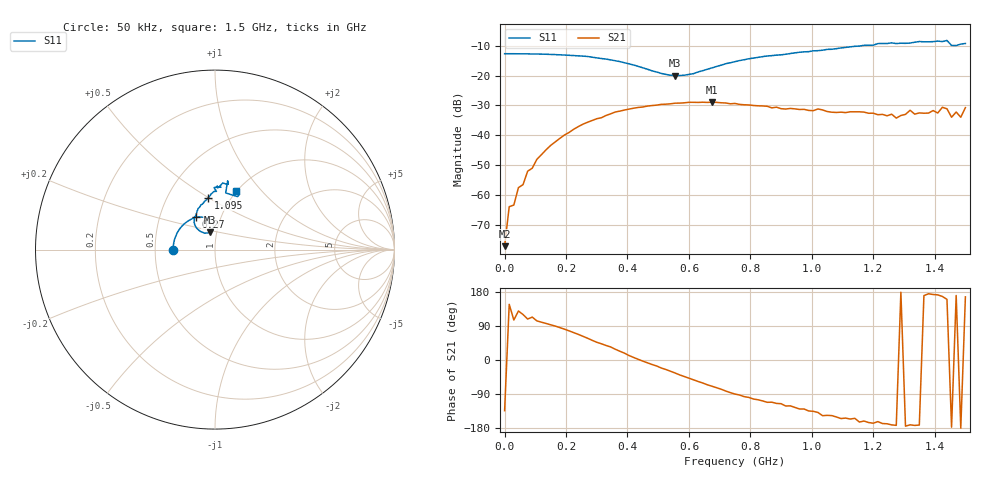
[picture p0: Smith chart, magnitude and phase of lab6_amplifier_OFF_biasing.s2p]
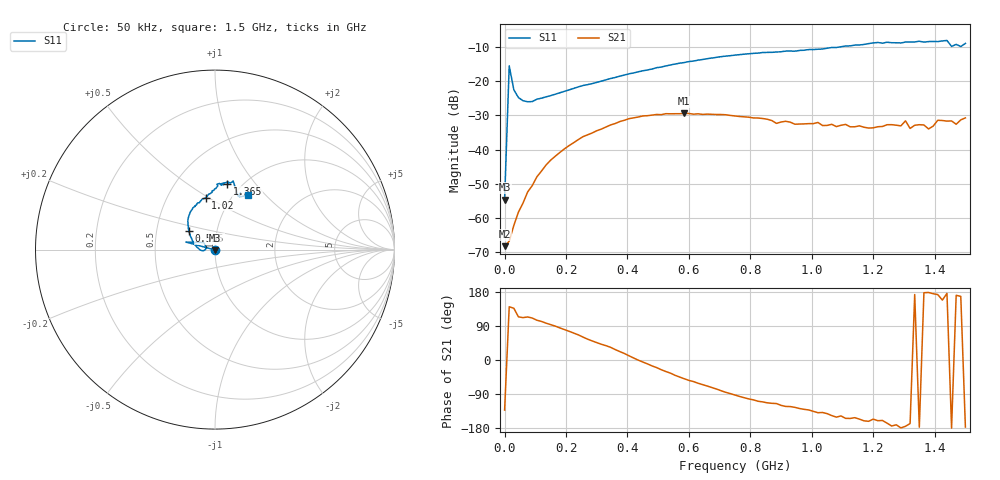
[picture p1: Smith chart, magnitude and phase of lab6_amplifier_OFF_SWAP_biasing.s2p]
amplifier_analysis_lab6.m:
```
% Function to find the nearest frequency index
function idx = findNearestFreq(freqs, targetFreq)
    [~, idx] = min(abs(freqs - targetFreq));
end

% Target frequency for pointer (700 MHz)
target_freq = 700e6; % 700 MHz in Hz

% -------------------------
% OFF BIASING
% -------------------------
S_off = sparameters('lab6_amplifier_OFF_biasing.s2p');
freq_off = S_off.Frequencies;

% Extract S-parameters
S11_off = squeeze(S_off.Parameters(1,1,:));
S21_off = squeeze(S_off.Parameters(2,1,:));

% Convert to dB
S11_off_dB = 20*log10(abs(S11_off));
S21_off_dB = 20*log10(abs(S21_off));

% Find index closest to 700 MHz
idx_700MHz_off = findNearestFreq(freq_off, target_freq);
S11_at_700MHz_off = S11_off_dB(idx_700MHz_off);
S21_at_700MHz_off = S21_off_dB(idx_700MHz_off);

% Print values to terminal
fprintf('OFF Biasing at 700 MHz:\n');
fprintf('  S11 = %.2f dB\n', S11_at_700MHz_off);
fprintf('  S21 = %.2f dB\n', S21_at_700MHz_off);

% Plot S11
figure('Name','OFF Biasing - S11');
plot(freq_off/1e9, S11_off_dB, 'LineWidth',1.5);
grid on;
xlabel('Frequency (GHz)');
ylabel('S_{11} (dB)');
title('Amplifier OFF Biasing - S_{11}');
hold on;
plot(freq_off(idx_700MHz_off)/1e9, S11_at_700MHz_off, 'ro', 'MarkerSize', 10);
text(freq_off(idx_700MHz_off)/1e9, S11_at_700MHz_off, [' 700 MHz: ' num2str(S11_at_700MHz_off, '%.2f') ' dB'], 'VerticalAlignment', 'bottom');
hold off;

% Plot S21
figure('Name','OFF Biasing - S21');
plot(freq_off/1e9, S21_off_dB, 'LineWidth',1.5);
grid on;
xlabel('Frequency (GHz)');
ylabel('S_{21} (dB)');
title('Amplifier OFF Biasing - S_{21}');
hold on;
plot(freq_off(idx_700MHz_off)/1e9, S21_at_700MHz_off, 'ro', 'MarkerSize', 10);
text(freq_off(idx_700MHz_off)/1e9, S21_at_700MHz_off, [' 700 MHz: ' num2str(S21_at_700MHz_off, '%.2f') ' dB'], 'VerticalAlignment', 'bottom');
hold off;

% ========================================================
% OFF BIASING - SWAPPED S22, S12
% ========================================================
S_off_SWAP = sparameters('lab6_amplifier_OFF_SWAP_biasing.s2p');
freq_off_SWAP = S_off_SWAP.Frequencies;

% Extract S-parameters
S12_off = squeeze(S_off_SWAP.Parameters(2,1,:)); % This is actually S12 in your measurement
S22_off = squeeze(S_off_SWAP.Parameters(1,1,:)); % This is actually S22 in your measurement

% Convert to dB
S12_off_dB = 20*log10(abs(S12_off));
S22_off_dB = 20*log10(abs(S22_off));

% Find index closest to 700 MHz
idx_700MHz_off_SWAP = findNearestFreq(freq_off_SWAP, target_freq);
S12_at_700MHz_off = S12_off_dB(idx_700MHz_off_SWAP);
S22_at_700MHz_off = S22_off_dB(idx_700MHz_off_SWAP);

% Print values to terminal
fprintf('OFF Biasing (SWAPPED) at 700 MHz:\n');
fprintf('  S12 = %.2f dB\n', S12_at_700MHz_off);
fprintf('  S22 = %.2f dB\n', S22_at_700MHz_off);

% Plot S12
figure('Name','OFF Biasing - S12');
plot(freq_off_SWAP/1e9, S12_off_dB, 'LineWidth',1.5);
grid on;
xlabel('Frequency (GHz)');
ylabel('S_{12} (dB)');
title('Amplifier OFF Biasing - S_{12}');
hold on;
plot(freq_off_SWAP(idx_700MHz_off_SWAP)/1e9, S12_at_700MHz_off, 'ro', 'MarkerSize', 10);
text(freq_off_SWAP(idx_700MHz_off_SWAP)/1e9, S12_at_700MHz_off, [' 700 MHz: ' num2str(S12_at_700MHz_off, '%.2f') ' dB'], 'VerticalAlignment', 'bottom');
hold off;

% Plot S22
figure('Name','OFF Biasing - S22');
plot(freq_off_SWAP/1e9, S22_off_dB, 'LineWidth',1.5);
grid on;
xlabel('Frequency (GHz)');
ylabel('S_{22} (dB)');
title('Amplifier OFF Biasing - S_{22}');
hold on;
plot(freq_off_SWAP(idx_700MHz_off_SWAP)/1e9, S22_at_700MHz_off, 'ro', 'MarkerSize', 10);
text(freq_off_SWAP(idx_700MHz_off_SWAP)/1e9, S22_at_700MHz_off, [' 700 MHz: ' num2str(S22_at_700MHz_off, '%.2f') ' dB'], 'VerticalAlignment', 'bottom');
hold off;

% -------------------------
% 5V BIASING
% -------------------------
S_5V = sparameters('lab6_amplifier_5V_biasing.s2p');
freq_5V = S_5V.Frequencies;

% Extract S-parameters
S11_5V = squeeze(S_5V.Parameters(1,1,:));
S21_5V = squeeze(S_5V.Parameters(2,1,:));

% Convert to dB
S11_5V_dB = 20*log10(abs(S11_5V));
S21_5V_dB = 20*log10(abs(S21_5V));

% Find index closest to 700 MHz
idx_700MHz_5V = findNearestFreq(freq_5V, target_freq);
S11_at_700MHz_5V = S11_5V_dB(idx_700MHz_5V);
S21_at_700MHz_5V = S21_5V_dB(idx_700MHz_5V);

% Print values to terminal
fprintf('5V Biasing at 700 MHz:\n');
fprintf('  S11 = %.2f dB\n', S11_at_700MHz_5V);
fprintf('  S21 = %.2f dB\n', S21_at_700MHz_5V);

% Plot S11
figure('Name','5V Biasing - S11');
plot(freq_5V/1e9, S11_5V_dB, 'LineWidth',1.5);
grid on;
xlabel('Frequency (GHz)');
ylabel('S_{11} (dB)');
title('Amplifier 5V Biasing - S_{11}');
hold on;
plot(freq_5V(idx_700MHz_5V)/1e9, S11_at_700MHz_5V, 'ro', 'MarkerSize', 10);
text(freq_5V(idx_700MHz_5V)/1e9, S11_at_700MHz_5V, [' 700 MHz: ' num2str(S11_at_700MHz_5V, '%.2f') ' dB'], 'VerticalAlignment', 'bottom');
hold off;

% Plot S21
figure('Name','5V Biasing - S21');
plot(freq_5V/1e9, S21_5V_dB, 'LineWidth',1.5);
grid on;
xlabel('Frequency (GHz)');
ylabel('S_{21} (dB)');
title('Amplifier 5V Biasing - S_{21}');
hold on;
plot(freq_5V(idx_700MHz_5V)/1e9, S21_at_700MHz_5V, 'ro', 'MarkerSize', 10);
text(freq_5V(idx_700MHz_5V)/1e9, S21_at_700MHz_5V, [' 700 MHz: ' num2str(S21_at_700MHz_5V, '%.2f') ' dB'], 'VerticalAlignment', 'bottom');
hold off;

% ========================================================
% 5V BIASING - SWAPPED S22, S12
% ========================================================
S_5V_SWAP = sparameters('lab6_amplifier_5V_SWAP_biasing.s2p');
freq_5V_SWAP = S_5V_SWAP.Frequencies;

% Extract S-parameters
S12_5V = squeeze(S_5V_SWAP.Parameters(2,1,:));
S22_5V = squeeze(S_5V_SWAP.Parameters(1,1,:));

% Convert to dB
S12_5V_dB = 20*log10(abs(S12_5V));
S22_5V_dB = 20*log10(abs(S22_5V));

% Find index closest to 700 MHz
idx_700MHz_5V_SWAP = findNearestFreq(freq_5V_SWAP, target_freq);
S12_at_700MHz_5V = S12_5V_dB(idx_700MHz_5V_SWAP);
S22_at_700MHz_5V = S22_5V_dB(idx_700MHz_5V_SWAP);

% Print values to terminal
fprintf('5V Biasing (SWAPPED) at 700 MHz:\n');
fprintf('  S12 = %.2f dB\n', S12_at_700MHz_5V);
fprintf('  S22 = %.2f dB\n', S22_at_700MHz_5V);

% Plot S12
figure('Name','5V Biasing - S12');
plot(freq_5V_SWAP/1e9, S12_5V_dB, 'LineWidth',1.5);
grid on;
xlabel('Frequency (GHz)');
ylabel('S_{12} (dB)');
title('Amplifier 5V Biasing - S_{12}');
hold on;
plot(freq_5V_SWAP(idx_700MHz_5V_SWAP)/1e9, S12_at_700MHz_5V, 'ro', 'MarkerSize', 10);
text(freq_5V_SWAP(idx_700MHz_5V_SWAP)/1e9, S12_at_700MHz_5V, [' 700 MHz: ' num2str(S12_at_700MHz_5V, '%.2f') ' dB'], 'VerticalAlignment', 'bottom');
hold off;

% Plot S22
figure('Name','5V Biasing - S22');
plot(freq_5V_SWAP/1e9, S22_5V_dB, 'LineWidth',1.5);
grid on;
xlabel('Frequency (GHz)');
ylabel('S_{22} (dB)');
title('Amplifier 5V Biasing - S_{22}');
hold on;
plot(freq_5V_SWAP(idx_700MHz_5V_SWAP)/1e9, S22_at_700MHz_5V, 'ro', 'MarkerSize', 10);
text(freq_5V_SWAP(idx_700MHz_5V_SWAP)/1e9, S22_at_700MHz_5V, [' 700 MHz: ' num2str(S22_at_700MHz_5V, '%.2f') ' dB'], 'VerticalAlignment', 'bottom');
hold off;

% -------------------------
% 1.4V BIASING
% -------------------------
S_1V4 = sparameters('lab6_amplifier_1.4V_biasing.s2p');
freq_1V4 = S_1V4.Frequencies;

% Extract S-parameters
S11_1V4 = squeeze(S_1V4.Parameters(1,1,:));
S21_1V4 = squeeze(S_1V4.Parameters(2,1,:));

% Convert to dB
S11_1V4_dB = 20*log10(abs(S11_1V4));
S21_1V4_dB = 20*log10(abs(S21_1V4));

% Find index closest to 700 MHz
idx_700MHz_1V4 = findNearestFreq(freq_1V4, target_freq);
S11_at_700MHz_1V4 = S11_1V4_dB(idx_700MHz_1V4);
S21_at_700MHz_1V4 = S21_1V4_dB(idx_700MHz_1V4);

% Print values to terminal
fprintf('1.4V Biasing at 700 MHz:\n');
fprintf('  S11 = %.2f dB\n', S11_at_700MHz_1V4);
fprintf('  S21 = %.2f dB\n', S21_at_700MHz_1V4);

% Plot S11
figure('Name','1.4V Biasing - S11');
plot(freq_1V4/1e9, S11_1V4_dB, 'LineWidth',1.5);
grid on;
xlabel('Frequency (GHz)');
ylabel('S_{11} (dB)');
title('Amplifier 1.4V Biasing - S_{11}');
hold on;
plot(freq_1V4(idx_700MHz_1V4)/1e9, S11_at_700MHz_1V4, 'ro', 'MarkerSize', 10);
text(freq_1V4(idx_700MHz_1V4)/1e9, S11_at_700MHz_1V4, [' 700 MHz: ' num2str(S11_at_700MHz_1V4, '%.2f') ' dB'], 'VerticalAlignment', 'bottom');
hold off;

% Plot S21
figure('Name','1.4V Biasing - S21');
plot(freq_1V4/1e9, S21_1V4_dB, 'LineWidth',1.5);
grid on;
xlabel('Frequency (GHz)');
ylabel('S_{21} (dB)');
title('Amplifier 1.4V Biasing - S_{21}');
hold on;
plot(freq_1V4(idx_700MHz_1V4)/1e9, S21_at_700MHz_1V4, 'ro', 'MarkerSize', 10);
text(freq_1V4(idx_700MHz_1V4)/1e9, S21_at_700MHz_1V4, [' 700 MHz: ' num2str(S21_at_700MHz_1V4, '%.2f') ' dB'], 'VerticalAlignment', 'bottom');
hold off;

% ========================================================
% 1.4V BIASING - SWAPPED S22, S12
% ========================================================
S_1V4_SWAP = sparameters('lab6_amplifier_1.4V_SWAP_biasing.s2p');
freq_1V4_SWAP = S_1V4_SWAP.Frequencies;

% Extract S-parameters
S12_1V4 = squeeze(S_1V4_SWAP.Parameters(2,1,:));
S22_1V4 = squeeze(S_1V4_SWAP.Parameters(1,1,:));

% Convert to dB
S12_1V4_dB = 20*log10(abs(S12_1V4));
S22_1V4_dB = 20*log10(abs(S22_1V4));

% Find index closest to 700 MHz
idx_700MHz_1V4_SWAP = findNearestFreq(freq_1V4_SWAP, target_freq);
S12_at_700MHz_1V4 = S12_1V4_dB(idx_700MHz_1V4_SWAP);
S22_at_700MHz_1V4 = S22_1V4_dB(idx_700MHz_1V4_SWAP);

% Print values to terminal
fprintf('1.4V Biasing (SWAPPED) at 700 MHz:\n');
fprintf('  S12 = %.2f dB\n', S12_at_700MHz_1V4);
fprintf('  S22 = %.2f dB\n', S22_at_700MHz_1V4);

% Plot S12
figure('Name','1.4V Biasing - S12');
plot(freq_1V4_SWAP/1e9, S12_1V4_dB, 'LineWidth',1.5);
grid on;
xlabel('Frequency (GHz)');
ylabel('S_{12} (dB)');
title('Amplifier 1.4V Biasing - S_{12}');
hold on;
plot(freq_1V4_SWAP(idx_700MHz_1V4_SWAP)/1e9, S12_at_700MHz_1V4, 'ro', 'MarkerSize', 10);
text(freq_1V4_SWAP(idx_700MHz_1V4_SWAP)/1e9, S12_at_700MHz_1V4, [' 700 MHz: ' num2str(S12_at_700MHz_1V4, '%.2f') ' dB'], 'VerticalAlignment', 'bottom');
hold off;

% Plot S22
figure('Name','1.4V Biasing - S22');
plot(freq_1V4_SWAP/1e9, S22_1V4_dB, 'LineWidth',1.5);
grid on;
xlabel('Frequency (GHz)');
ylabel('S_{22} (dB)');
title('Amplifier 1.4V Biasing - S_{22}');
hold on;
plot(freq_1V4_SWAP(idx_700MHz_1V4_SWAP)/1e9, S22_at_700MHz_1V4, 'ro', 'MarkerSize', 10);
text(freq_1V4_SWAP(idx_700MHz_1V4_SWAP)/1e9, S22_at_700MHz_1V4, [' 700 MHz: ' num2str(S22_at_700MHz_1V4, '%.2f') ' dB'], 'VerticalAlignment', 'bottom');
hold off;

% Print a summary of all S-parameters at 700 MHz
fprintf('\n===== S-PARAMETER SUMMARY AT 700 MHz =====\n');
fprintf('OFF Biasing:\n');
fprintf('  S11 = %.2f dB\n  S21 = %.2f dB\n  S12 = %.2f dB\n  S22 = %.2f dB\n\n', ...
    S11_at_700MHz_off, S21_at_700MHz_off, S12_at_700MHz_off, S22_at_700MHz_off);
fprintf('5V Biasing:\n');
fprintf('  S11 = %.2f dB\n  S21 = %.2f dB\n  S12 = %.2f dB\n  S22 = %.2f dB\n\n', ...
    S11_at_700MHz_5V, S21_at_700MHz_5V, S12_at_700MHz_5V, S22_at_700MHz_5V);
fprintf('1.4V Biasing:\n');
fprintf('  S11 = %.2f dB\n  S21 = %.2f dB\n  S12 = %.2f dB\n  S22 = %.2f dB\n', ...
    S11_at_700MHz_1V4, S21_at_700MHz_1V4, S12_at_700MHz_1V4, S22_at_700MHz_1V4);
```
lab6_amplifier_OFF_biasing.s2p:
# HZ S RI R 50
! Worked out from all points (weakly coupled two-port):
!   101 points, 50 kHz to 1.5 GHz, reference 50 ohm
!   highest |S21| = -28.88 dB at 675 MHz (marker M1); lowest = -77.2 dB at 50 kHz (marker M2)
!   lowest |S11| = -20.0 dB at 555 MHz (marker M3), VSWR 1.22, Z = 46.2 + j8.95 ohm
!   |S11| at or under -10 dB: start of sweep to 1.159 GHz
!   S12 and S22 are empty: the file has one direction only
!   S11 on the Smith chart (normalised r, x): 50 kHz: 0.62, -0.00; 270 MHz: 0.76, +0.29; 1.095 GHz: 0.79, +0.50; 1.5 GHz: 0.99, +0.74
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50000  -0.2335 -0.000999  -9.53e-05 -9.96e-05  0 0  0 0
1.50495e7  -0.2332 0.0129  -0.00053 0.000346  0 0  0 0
7.50475e7  -0.2234 0.0635  -0.000775 0.00237  0 0  0 0
2.70041e8  -0.1064 0.1809  0.0089 0.0139  0 0  0 0
5.550315e8  -0.0302 0.0958  0.0285 -0.0195  0 0  0 0
6.750275e8  -0.0857 0.1043  0.0128 -0.0336  0 0  0 0
7.50025e8  -0.1099 0.1322  6.37e-05 -0.0342  0 0  0 0
1.095014e9  -0.0378 0.2895  -0.022 -0.0105  0 0  0 0
1.425002e9  0.0739 0.3661  -0.0288 0.00628  0 0  0 0
1.485e9  0.1374 0.3093  -0.0201 -7.11e-05  0 0  0 0
1.5e9  0.1179 0.3262  -0.0283 0.00671  0 0  0 0
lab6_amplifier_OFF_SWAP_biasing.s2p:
# HZ S RI R 50
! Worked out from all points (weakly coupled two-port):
!   101 points, 50 kHz to 1.5 GHz, reference 50 ohm
!   highest |S21| = -29.40 dB at 585 MHz (marker M1); lowest = -68.3 dB at 50 kHz (marker M2)
!   lowest |S11| = -54.6 dB at 50 kHz (marker M3), VSWR 1.00, Z = 50 - j0.184 ohm
!   |S11| at or under -10 dB: start of sweep to 1.088 GHz
!   S12 and S22 are empty: the file has one direction only
!   S11 on the Smith chart (normalised r, x): 50 kHz: 1.00, -0.00; 555 MHz: 0.73, +0.16; 1.02 GHz: 0.77, +0.49; 1.365 GHz: 0.86, +0.73; 1.5 GHz: 1.15, +0.81
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50000  -0.000259 -0.00184  -0.000258 -0.000286  0 0  0 0
1.50495e7  -0.1629 0.042  -0.000351 0.00029  0 0  0 0
3.0049e7  -0.0638 0.0396  -0.000563 0.000533  0 0  0 0
6.0048e7  -0.0499 0.0141  -0.000612 0.00153  0 0  0 0
1.950435e8  -0.071 -0.00568  0.00174 0.0101  0 0  0 0
5.550315e8  -0.1451 0.1043  0.0255 -0.0217  0 0  0 0
5.850305e8  -0.1481 0.116  0.022 -0.0258  0 0  0 0
7.50025e8  -0.1434 0.1941  -0.00132 -0.031  0 0  0 0
1.020016e9  -0.0525 0.2895  -0.0189 -0.0163  0 0  0 0
1.365004e9  0.0692 0.367  -0.0229 0.000984  0 0  0 0
1.5e9  0.1858 0.3055  -0.0291 -0.00155  0 0  0 0
